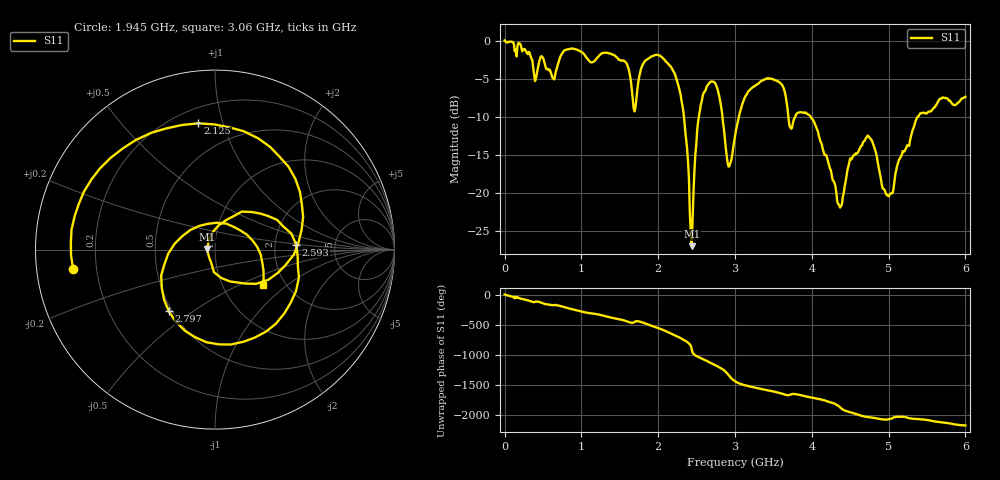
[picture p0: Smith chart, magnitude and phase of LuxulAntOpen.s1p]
# Hz S RI R 50
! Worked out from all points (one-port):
!   501 points, 1 MHz to 6 GHz, reference 50 ohm
!   lowest |S11| = -27.0 dB at 2.437 GHz (marker M1), VSWR 1.09, Z = 45.7 + j0.266 ohm
!   |S11| at or under -10 dB: 2.335 GHz to 2.53 GHz (194.5 MHz wide, 8 % of centre); 2.837 GHz to 3.05 GHz (213.1 MHz wide, 7.24 % of centre); 3.984 GHz to 5.38 GHz (1.396 GHz wide, 29.8 % of centre)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
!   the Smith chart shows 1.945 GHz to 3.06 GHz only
!   S11 on the Smith chart (normalised r, x): 1.945 GHz: 0.11, -0.07; 2.125 GHz: 0.29, +0.83; 2.593 GHz: 2.64, +0.18; 2.797 GHz: 0.48, -0.40; 3.06 GHz: 1.55, -0.69
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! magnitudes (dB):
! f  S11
! 1 MHz  0.0
! 408.9 MHz  -5.0
! 756.9 MHz  -1.6
! 1.501 GHz  -2.5
! 1.609 GHz  -3.5
! 1.693 GHz  -9.3
! 1.801 GHz  -3.1
! 1.945 GHz  -2.0
! 2.125 GHz  -3.0
! 2.257 GHz  -5.6
! 2.353 GHz  -11.9
! 2.437 GHz  -27.0
! 2.509 GHz  -11.7
! 2.593 GHz  -6.9
! 2.797 GHz  -7.4
! 2.917 GHz  -16.5
! 3.001 GHz  -12.5
! 3.06 GHz  -9.6
! 3.468 GHz  -5.0
! 3.756 GHz  -10.7
! 4.02 GHz  -10.5
! 4.356 GHz  -21.6
! 4.5 GHz  -15.5
! 4.752 GHz  -12.7
! 5.004 GHz  -20.5
! 5.256 GHz  -13.8
! 5.412 GHz  -9.5
! 6 GHz  -7.4
